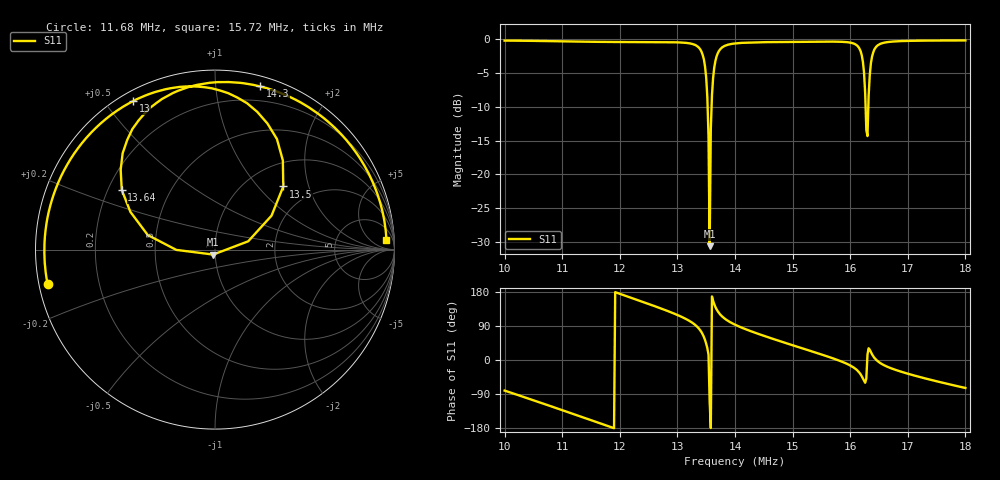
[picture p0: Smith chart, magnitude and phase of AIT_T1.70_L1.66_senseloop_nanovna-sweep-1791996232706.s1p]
! NanoVNA Web complex sweep
! Processing: original sample grid, no browser smoothing
# Hz S RI R 50
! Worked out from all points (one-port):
!   401 points, 10 MHz to 18 MHz, reference 50 ohm
!   lowest |S11| = -30.6 dB at 13.56 MHz (marker M1), VSWR 1.06, Z = 48.9 - j2.71 ohm
!   |S11| at or under -10 dB: 13.52 MHz to 13.59 MHz (68.72 kHz wide, 0.507 % of centre); 16.26734 MHz to 16.31461 MHz (47.27 kHz wide, 0.29 % of centre)
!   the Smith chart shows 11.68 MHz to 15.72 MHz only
!   S11 on the Smith chart (normalised r, x): 11.68 MHz: 0.02, -0.10; 13 MHz: 0.04, +0.59; 13.5 MHz: 1.44, +1.39; 13.64 MHz: 0.26, +0.27; 14.3 MHz: 0.08, +1.31; 15.72 MHz: 17, +22
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1e7  0.1568 -0.9607
1.05e7  -0.2716 -0.93
1.1e7  -0.6474 -0.7108
1.168e7  -0.9324 -0.1938
1.2e7  -0.9464 0.0873
1.252e7  -0.7947 0.5198
1.3e7  -0.4555 0.8278
1.336e7  0.0733 0.8717
1.344e7  0.2923 0.7023
1.35e7  0.3804 0.3518
1.352e7  0.315 0.1891
1.356e7  -0.0101 -0.0277
1.36e7  -0.3746 0.0812
1.364e7  -0.5195 0.3327
1.378e7  -0.3596 0.7914
1.4e7  -0.0524 0.9263
1.43e7  0.251 0.9097
1.5e7  0.7413 0.599
1.572e7  0.9549 0.0555
1.6e7  0.9092 -0.2343
1.612e7  0.7978 -0.4048
1.62e7  0.5598 -0.5159
1.628e7  0.1392 -0.1603
1.632e7  0.3261 0.1959
1.636e7  0.6221 0.2341
1.648e7  0.8977 -0.0545
1.7e7  0.7819 -0.5717
1.8e7  0.2719 -0.9371
